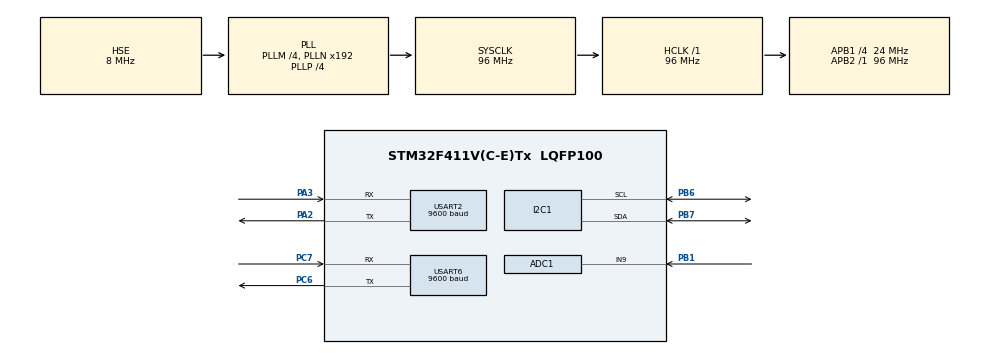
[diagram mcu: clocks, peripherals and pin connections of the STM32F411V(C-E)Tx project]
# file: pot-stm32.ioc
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ADC1.Channel-0\#ChannelRegularConversion=ADC_CHANNEL_9
ADC1.ContinuousConvMode=ENABLE
ADC1.NbrOfConversionFlag=1
ADC1.Rank-0\#ChannelRegularConversion=1
ADC1.SamplingTime-0\#ChannelRegularConversion=ADC_SAMPLETIME_3CYCLES
ADC1.master=1
I2C1.I2C_Mode=I2C_Fast
Mcu.Family=STM32F4
Mcu.Name=STM32F411V(C-E)Tx
Mcu.Package=LQFP100
NVIC.PriorityGroup=NVIC_PRIORITYGROUP_0
PA2.Mode=Asynchronous
PA2.Signal=USART2_TX
PA3.Mode=Asynchronous
PA3.Signal=USART2_RX
PB1.Signal=ADCx_IN9
PB6.Mode=I2C
PB6.Signal=I2C1_SCL
PB7.Mode=I2C
PB7.Signal=I2C1_SDA
PC6.Mode=Asynchronous
PC6.Signal=USART6_TX
PC7.Mode=Asynchronous
PC7.Signal=USART6_RX
PH0\ -\ OSC_IN.Mode=HSE-External-Oscillator
PH0\ -\ OSC_IN.Signal=RCC_OSC_IN
PH1\ -\ OSC_OUT.Mode=HSE-External-Oscillator
PH1\ -\ OSC_OUT.Signal=RCC_OSC_OUT
ProjectManager.HeapSize=0x200
ProjectManager.StackSize=0x400
ProjectManager.TargetToolchain=STM32CubeIDE
RCC.48MHZClocksFreq_Value=48000000
RCC.AHBFreq_Value=96000000
RCC.APB1CLKDivider=RCC_HCLK_DIV4
RCC.APB1Freq_Value=24000000
RCC.APB1TimFreq_Value=48000000
RCC.APB2Freq_Value=96000000
RCC.APB2TimFreq_Value=96000000
RCC.CortexFreq_Value=96000000
RCC.HCLKFreq_Value=96000000
RCC.HSE_VALUE=8000000
RCC.HSI_VALUE=16000000
RCC.LSE_VALUE=32768
RCC.PLLI2SM=5
RCC.PLLI2SN=200
RCC.PLLM=4
RCC.PLLP=RCC_PLLP_DIV4
RCC.PLLQ=8
RCC.PLLSourceVirtual=RCC_PLLSOURCE_HSE
RCC.SYSCLKFreq_VALUE=96000000
RCC.SYSCLKSource=RCC_SYSCLKSOURCE_PLLCLK
RCC.VCOOutputFreq_Value=384000000
SH.ADCx_IN9.0=ADC1_IN9,IN9
USART2.BaudRate=9600
USART2.VirtualMode=VM_ASYNC
USART6.BaudRate=9600
USART6.VirtualMode=VM_ASYNC
board=STM32F411E-DISCO

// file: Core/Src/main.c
/* USER CODE BEGIN Header */
/**
  ******************************************************************************
  * @file           : main.c
  * @brief          : Main program body
  ******************************************************************************
  * @attention
  *
  * Copyright (c) 2023 STMicroelectronics.
  * All rights reserved.
  *
  * This software is licensed under terms that can be found in the LICENSE file
  * in the root directory of this software component.
  * If no LICENSE file comes with this software, it is provided AS-IS.
  *
  ******************************************************************************
  */
/* USER CODE END Header */
#include "main.h"

/* USER CODE BEGIN Includes */
#include "BMP180.h"
#include "stdio.h"
#include "nextion.h"

/* USER CODE END Includes */

 ADC_HandleTypeDef hadc1;

I2C_HandleTypeDef hi2c1;

UART_HandleTypeDef huart2;
UART_HandleTypeDef huart6;

void SystemClock_Config(void);
static void MX_GPIO_Init(void);
static void MX_ADC1_Init(void);
static void MX_I2C1_Init(void);
static void MX_USART6_UART_Init(void);
static void MX_USART2_UART_Init(void);

/* USER CODE BEGIN 0 */
uint16_t readval;

float Temperature = 0;
float Pressure = 0;
float Altitude = 0;
double Kalman_Temp = 0;
double Kalman_Press = 0;
double Kalman_Alt = 0;
double kalman = 0;

uint16_t speedvalue=0;
uint16_t fuelvalue=0;
uint16_t totalvoltvalue=0;
uint16_t totalcurrentvalue=0;
uint16_t maxtempvalue=0;
uint16_t mintempvalue=0;
uint16_t maxvoltvalue=0;
uint16_t minvoltvalue=0;
uint16_t phase1value=0;
uint16_t phase2value=0;
uint16_t phase3value=0;
uint16_t cell1num1value=0;
uint16_t cell1num2value=0;
uint16_t cell1num3value=0;
uint16_t cell1num4value=0;
uint16_t cell1num5value=0;
uint16_t cell1num6value=0;
uint16_t cell1num7value=0;
uint16_t cell1num8value=0;
uint16_t cell1num9value=0;
uint16_t cell1num10value=0;
uint16_t cell2num1value=0;
uint16_t cell2num2value=0;
uint16_t cell2num3value=0;
uint16_t cell2num4value=0;
uint16_t cell2num5value=0;
uint16_t cell2num6value=0;
uint16_t cell2num7value=0;
uint16_t cell2num8value=0;
uint16_t cell2num9value=0;
uint16_t cell2num10value=0;

float speedFloat;

struct telemetry
{
	uint16_t telemetrySpeed;
	uint16_t telemetryFuel;
	uint16_t telemetryTemp;
	uint16_t telemetryVolt;
};

/* USER CODE END 0 */

int main(void)
{

  /* MCU Configuration--------------------------------------------------------*/

  /* Reset of all peripherals, Initializes the Flash interface and the Systick. */
  HAL_Init();

  /* Configure the system clock */
  SystemClock_Config();

  /* Initialize all configured peripherals */
  MX_GPIO_Init();
  MX_ADC1_Init();
  MX_I2C1_Init();
  MX_USART6_UART_Init();
  MX_USART2_UART_Init();
  /* USER CODE BEGIN 2 */
  BMP180_Start();
  /* USER CODE END 2 */

  /* Infinite loop */
  while (1)
  {

    /* USER CODE BEGIN 3 */
	  struct telemetry package;

	  HAL_ADC_Start(&hadc1);
	  HAL_ADC_PollForConversion(&hadc1,1000);
	  readval = HAL_ADC_GetValue(&hadc1);
	  HAL_ADC_Stop(&hadc1);

	  Temperature = BMP180_Calc_Temp();
	  Pressure = BMP180_Calc_Press (0);
	  Altitude = BMP180_Calc_Alt(0);
	  Kalman_Temp = BMP180_Kalman_Temp(Temperature);
	  Kalman_Press = BMP180_Kalman_Press(Pressure);
	  Kalman_Alt = BMP180_Kalman_Alt(Altitude);

	  SpeedGauge("z0.val", readval/14);
	  speedFloat = ((float)readval/4065.0)*100;
	  SpeedNum("n1.val", speedFloat);

	  int kalmanint = Kalman_Temp;
	  MaxTempNum("n0s.val", kalmanint);

	  totalvoltvalue = 20;
	  TotalVoltNum("n2.val", totalvoltvalue);

	  totalcurrentvalue = 25;
	  TotalCurrentNum("n3.val", totalcurrentvalue);

	  package.telemetrySpeed = readval;
	  package.telemetryFuel = totalcurrentvalue;
	  package.telemetryTemp = kalmanint;
	  package.telemetryVolt = totalvoltvalue;

	  uint8_t dataToSend[sizeof(package)];

	  memcpy(dataToSend, &package, sizeof(package));

	  HAL_UART_Transmit(&huart2, dataToSend, sizeof(dataToSend), HAL_MAX_DELAY);

	  HAL_Delay(15);
  }
  /* USER CODE END 3 */
}

void SystemClock_Config(void)
{
  RCC_OscInitTypeDef RCC_OscInitStruct = {0};
  RCC_ClkInitTypeDef RCC_ClkInitStruct = {0};

  /** Configure the main internal regulator output voltage
  */
  __HAL_RCC_PWR_CLK_ENABLE();
  __HAL_PWR_VOLTAGESCALING_CONFIG(PWR_REGULATOR_VOLTAGE_SCALE1);

  /** Initializes the RCC Oscillators according to the specified parameters
  * in the RCC_OscInitTypeDef structure.
  */
  RCC_OscInitStruct.OscillatorType = RCC_OSCILLATORTYPE_HSE;
  RCC_OscInitStruct.HSEState = RCC_HSE_ON;
  RCC_OscInitStruct.PLL.PLLState = RCC_PLL_ON;
  RCC_OscInitStruct.PLL.PLLSource = RCC_PLLSOURCE_HSE;
  RCC_OscInitStruct.PLL.PLLM = 4;
  RCC_OscInitStruct.PLL.PLLN = 192;
  RCC_OscInitStruct.PLL.PLLP = RCC_PLLP_DIV4;
  RCC_OscInitStruct.PLL.PLLQ = 8;
  if (HAL_RCC_OscConfig(&RCC_OscInitStruct) != HAL_OK)
  {
    Error_Handler();
  }

  /** Initializes the CPU, AHB and APB buses clocks
  */
  RCC_ClkInitStruct.ClockType = RCC_CLOCKTYPE_HCLK|RCC_CLOCKTYPE_SYSCLK
                              |RCC_CLOCKTYPE_PCLK1|RCC_CLOCKTYPE_PCLK2;
  RCC_ClkInitStruct.SYSCLKSource = RCC_SYSCLKSOURCE_PLLCLK;
  RCC_ClkInitStruct.AHBCLKDivider = RCC_SYSCLK_DIV1;
  RCC_ClkInitStruct.APB1CLKDivider = RCC_HCLK_DIV4;
  RCC_ClkInitStruct.APB2CLKDivider = RCC_HCLK_DIV1;

  if (HAL_RCC_ClockConfig(&RCC_ClkInitStruct, FLASH_LATENCY_3) != HAL_OK)
  {
    Error_Handler();
  }
}

static void MX_ADC1_Init(void)
{

  ADC_ChannelConfTypeDef sConfig = {0};

  /** Configure the global features of the ADC (Clock, Resolution, Data Alignment and number of conversion)
  */
  hadc1.Instance = ADC1;
  hadc1.Init.ClockPrescaler = ADC_CLOCK_SYNC_PCLK_DIV4;
  hadc1.Init.Resolution = ADC_RESOLUTION_12B;
  hadc1.Init.ScanConvMode = DISABLE;
  hadc1.Init.ContinuousConvMode = ENABLE;
  hadc1.Init.DiscontinuousConvMode = DISABLE;
  hadc1.Init.ExternalTrigConvEdge = ADC_EXTERNALTRIGCONVEDGE_NONE;
  hadc1.Init.ExternalTrigConv = ADC_SOFTWARE_START;
  hadc1.Init.DataAlign = ADC_DATAALIGN_RIGHT;
  hadc1.Init.NbrOfConversion = 1;
  hadc1.Init.DMAContinuousRequests = DISABLE;
  hadc1.Init.EOCSelection = ADC_EOC_SINGLE_CONV;
  if (HAL_ADC_Init(&hadc1) != HAL_OK)
  {
    Error_Handler();
  }

  /** Configure for the selected ADC regular channel its corresponding rank in the sequencer and its sample time.
  */
  sConfig.Channel = ADC_CHANNEL_9;
  sConfig.Rank = 1;
  sConfig.SamplingTime = ADC_SAMPLETIME_3CYCLES;
  if (HAL_ADC_ConfigChannel(&hadc1, &sConfig) != HAL_OK)
  {
    Error_Handler();
  }

}

static void MX_I2C1_Init(void)
{

  hi2c1.Instance = I2C1;
  hi2c1.Init.ClockSpeed = 400000;
  hi2c1.Init.DutyCycle = I2C_DUTYCYCLE_2;
  hi2c1.Init.OwnAddress1 = 0;
  hi2c1.Init.AddressingMode = I2C_ADDRESSINGMODE_7BIT;
  hi2c1.Init.DualAddressMode = I2C_DUALADDRESS_DISABLE;
  hi2c1.Init.OwnAddress2 = 0;
  hi2c1.Init.GeneralCallMode = I2C_GENERALCALL_DISABLE;
  hi2c1.Init.NoStretchMode = I2C_NOSTRETCH_DISABLE;
  if (HAL_I2C_Init(&hi2c1) != HAL_OK)
  {
    Error_Handler();
  }

}

static void MX_USART2_UART_Init(void)
{

  huart2.Instance = USART2;
  huart2.Init.BaudRate = 9600;
  huart2.Init.WordLength = UART_WORDLENGTH_8B;
  huart2.Init.StopBits = UART_STOPBITS_1;
  huart2.Init.Parity = UART_PARITY_NONE;
  huart2.Init.Mode = UART_MODE_TX_RX;
  huart2.Init.HwFlowCtl = UART_HWCONTROL_NONE;
  huart2.Init.OverSampling = UART_OVERSAMPLING_16;
  if (HAL_UART_Init(&huart2) != HAL_OK)
  {
    Error_Handler();
  }

}

static void MX_USART6_UART_Init(void)
{

  huart6.Instance = USART6;
  huart6.Init.BaudRate = 9600;
  huart6.Init.WordLength = UART_WORDLENGTH_8B;
  huart6.Init.StopBits = UART_STOPBITS_1;
  huart6.Init.Parity = UART_PARITY_NONE;
  huart6.Init.Mode = UART_MODE_TX_RX;
  huart6.Init.HwFlowCtl = UART_HWCONTROL_NONE;
  huart6.Init.OverSampling = UART_OVERSAMPLING_16;
  if (HAL_UART_Init(&huart6) != HAL_OK)
  {
    Error_Handler();
  }

}

static void MX_GPIO_Init(void)
{

  /* GPIO Ports Clock Enable */
  __HAL_RCC_GPIOH_CLK_ENABLE();
  __HAL_RCC_GPIOA_CLK_ENABLE();
  __HAL_RCC_GPIOB_CLK_ENABLE();
  __HAL_RCC_GPIOC_CLK_ENABLE();

}

void Error_Handler(void)
{
  __disable_irq();
  while (1)
  {
  }
}
